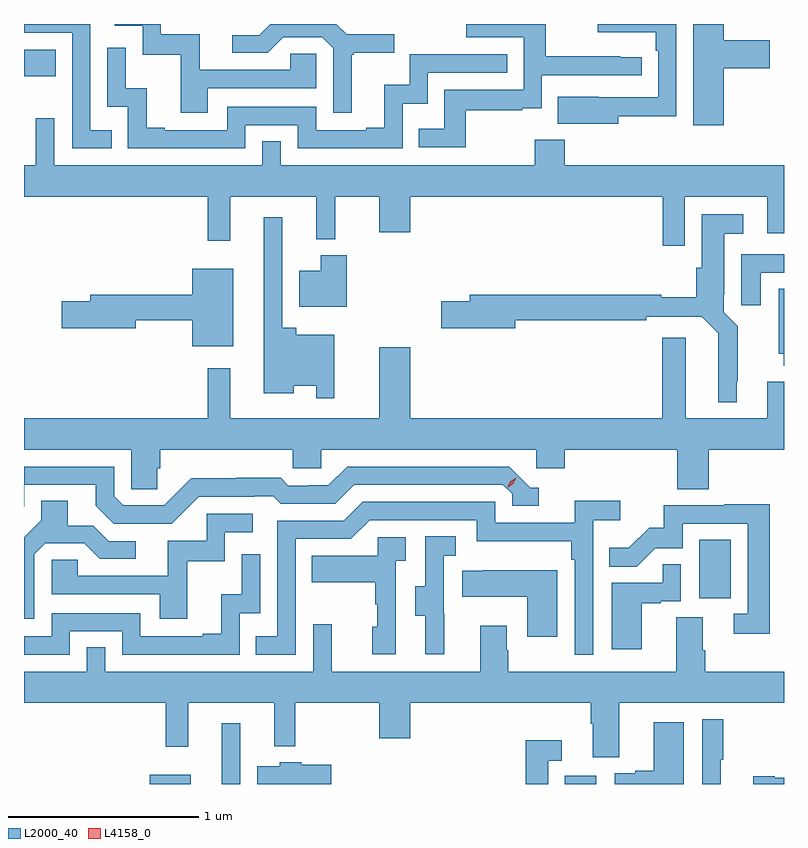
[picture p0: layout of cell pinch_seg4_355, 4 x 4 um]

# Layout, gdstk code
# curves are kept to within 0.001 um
import gdstk
lib = gdstk.Library(unit=1e-6, precision=1e-09)
def R(c, l, rs):  # rectangles x0, y0, x1, y1
    for r in rs: c.add(gdstk.rectangle(r[:2], r[2:], *l))
def P(c, l, *ps):  # polygons
    for p in ps: c.add(gdstk.Polygon(p, *l))
L2000_40 = (2000, 40)
L4158_0 = (4158, 0)

pinch_seg4_355 = lib.new_cell('pinch_seg4_355')
R(pinch_seg4_355, L2000_40, [(955.01,792.396,955.225,792.445), (955.388,792.396,955.485,792.715), (957.194,792.396,957.358,792.439), (957.902,793.374,958.066,793.681), (954.347,796.121,954.515,796.261)])
P(pinch_seg4_355, L2000_40, [(957.475,795.91),(957.78,795.91),(957.78,796.396),(957.366,796.396),(957.366,796.352),(957.671,796.352),(957.671,796.256),(957.684,796.256),(957.684,796.011),(957.371,796.011),(957.371,796.012),(957.157,796.012),(957.157,795.872),(957.475,795.872)],
  [(956.671,795.942),(956.969,795.942),(956.969,795.953),(957.072,795.953),(957.072,796.125),(957.598,796.125),(957.598,796.221),(957.485,796.221),(957.485,796.226),(957.092,796.226),(957.092,796.396),(956.675,796.396),(956.675,796.326),(956.976,796.326),(956.976,796.05),(956.56,796.05),(956.56,795.844),(956.425,795.844),(956.425,795.747),(956.671,795.747)],
  [(958.03,796.163),(958.273,796.163),(958.273,796.31),(958.03,796.31),(958.03,796.396),(957.869,796.396),(957.869,795.864),(958.03,795.864)],
  [(955.315,796.059),(955.884,796.059),(955.884,796.239),(955.747,796.239),(955.747,796.155),(955.273,796.155),(955.273,796.341),(955.068,796.341),(955.068,796.396),(954.825,796.396),(954.825,796.386),(954.972,796.386),(954.972,796.233),(955.171,796.233),(955.171,795.93),(955.315,795.93)],
  [(956.071,796.233),(956.083,796.233),(956.083,796.244),(956.296,796.244),(956.296,796.341),(956.046,796.341),(955.991,796.396),(955.642,796.396),(955.584,796.338),(955.443,796.338),(955.443,796.245),(955.63,796.245),(955.711,796.326),(955.917,796.326),(955.974,796.269),(955.974,795.93),(956.071,795.93)],
  [(954.809,795.837),(954.696,795.837),(954.696,796.396),(954.347,796.396),(954.347,796.35),(954.6,796.35),(954.6,795.741),(954.809,795.741)],
  [(955.512,795.864),(955.788,795.864),(955.788,795.741),(956.34,795.741),(956.34,795.977),(956.472,795.977),(956.472,796.14),(956.891,796.14),(956.891,796.236),(956.376,796.236),(956.376,796.075),(956.243,796.075),(956.243,795.85),(956.147,795.85),(956.147,795.837),(955.884,795.837),(955.884,795.96),(955.416,795.96),(955.416,795.837),(955.087,795.837),(955.087,795.85),(954.992,795.85),(954.992,796.058),(954.882,796.058),(954.882,796.27),(954.786,796.27),(954.786,795.96),(954.894,795.96),(954.894,795.741),(955.512,795.741)],
  [(957.825,795.488),(958.259,795.488),(958.259,795.294),(958.347,795.294),(958.347,795.652),(957.194,795.652),(957.194,795.787),(957.034,795.787),(957.034,795.652),(955.698,795.652),(955.698,795.779),(955.602,795.779),(955.602,795.652),(954.507,795.652),(954.507,795.901),(954.41,795.901),(954.41,795.652),(954.347,795.652),(954.347,795.488),(955.315,795.488),(955.315,795.255),(955.433,795.255),(955.433,795.488),(955.886,795.488),(955.886,795.263),(955.986,795.263),(955.986,795.488),(956.216,795.488),(956.216,795.3),(956.38,795.3),(956.38,795.488),(957.709,795.488),(957.709,795.228),(957.825,795.228)],
  [(958.099,794.515),(958.103,794.515),(958.103,794.806),(958.029,794.88),(958.029,794.974),(958.033,794.974),(958.033,795.293),(958.132,795.293),(958.132,795.394),(957.914,795.394),(957.914,795.114),(957.884,795.114),(957.884,794.957),(957.7,794.957),(957.7,794.972),(956.693,794.972),(956.693,794.936),(956.544,794.936),(956.544,794.794),(956.932,794.794),(956.932,794.836),(957.623,794.836),(957.623,794.856),(957.914,794.856),(958.002,794.768),(958.001,794.405),(958.099,794.405)],
  [(955.98,794.761),(955.781,794.761),(955.781,794.797),(955.707,794.797),(955.707,795.379),(955.61,795.379),(955.61,794.453),(955.768,794.453),(955.768,794.492),(955.884,794.492),(955.884,794.427),(955.98,794.427)],
  [(958.225,795.087),(958.347,795.087),(958.347,795.183),(958.121,795.183),(958.121,794.916),(958.225,794.916)],
  [(956.045,795.178),(955.91,795.178),(955.91,795.097),(955.796,795.097),(955.796,794.909),(956.045,794.909)],
  [(955.447,795.109),(955.232,795.109),(955.232,794.972),(954.695,794.972),(954.695,794.936),(954.546,794.936),(954.546,794.794),(954.934,794.794),(954.934,794.836),(955.232,794.836),(955.232,794.699),(955.447,794.699)],
  [(958.347,795.002),(958.319,795.002),(958.319,794.661),(958.346,794.661),(958.346,794.597),(958.347,794.597)],
  [(955.049,794.058),(955.064,794.058),(955.064,794.156),(955.761,794.156),(955.761,794.058),(955.911,794.058),(955.911,794.156),(957.042,794.156),(957.042,794.058),(957.194,794.058),(957.194,794.156),(957.785,794.156),(957.785,793.948),(957.95,793.948),(957.95,794.156),(958.347,794.156),(958.347,794.512),(958.259,794.512),(958.259,794.32),(957.829,794.32),(957.829,794.746),(957.707,794.746),(957.707,794.32),(956.38,794.32),(956.38,794.695),(956.216,794.695),(956.216,794.32),(955.432,794.32),(955.432,794.584),(955.315,794.584),(955.315,794.32),(954.347,794.32),(954.347,794.156),(954.912,794.156),(954.912,793.948),(955.049,793.948)],
  [(955.266,793.908),(955.559,793.908),(955.559,793.911),(955.658,793.911),(955.697,793.872),(955.986,793.872),(956.085,793.971),(956.868,793.971),(956.916,793.923),(956.916,793.86),(957.055,793.86),(957.055,793.956),(957.012,793.956),(956.901,794.067),(956.048,794.067),(955.949,793.968),(955.842,793.968),(955.842,793.965),(955.739,793.965),(955.697,794.008),(955.464,794.008),(955.464,794.005),(955.228,794.005),(955.086,793.863),(954.87,793.863),(954.822,793.911),(954.822,794.067),(954.347,794.067),(954.347,793.856),(954.348,793.971),(954.725,793.971),(954.725,793.861),(954.819,793.767),(955.125,793.767)],
  [(954.402,793.605),(954.459,793.662),(954.665,793.662),(954.746,793.581),(954.934,793.581),(954.934,793.674),(954.792,793.674),(954.712,793.754),(954.577,793.754),(954.577,793.886),(954.437,793.886),(954.437,793.784),(954.347,793.694),(954.347,793.266),(954.402,793.266)],
  [(955.776,793.686),(956.067,793.686),(956.166,793.785),(956.73,793.785),(956.73,793.673),(957.226,793.673),(957.226,793.577),(957.246,793.577),(957.246,793.077),(957.342,793.077),(957.342,793.784),(957.484,793.784),(957.484,793.886),(957.245,793.886),(957.245,793.77),(956.826,793.77),(956.826,793.881),(956.129,793.881),(956.03,793.782),(955.68,793.782),(955.68,793.173),(955.567,793.173),(955.567,793.077),(955.776,793.077)],
  [(958.271,793.868),(958.033,793.868),(958.033,793.863),(957.715,793.863),(957.715,793.746),(957.638,793.746),(957.531,793.639),(957.427,793.639),(957.427,793.54),(957.571,793.54),(957.669,793.638),(957.813,793.638),(957.813,793.767),(958.155,793.767),(958.155,793.293),(958.083,793.293),(958.083,793.188),(958.271,793.188)],
  [(955.205,793.569),(955.404,793.569),(955.404,793.722),(955.552,793.722),(955.552,793.818),(955.308,793.818),(955.308,793.677),(955.103,793.677),(955.103,793.491),(954.629,793.491),(954.629,793.575),(954.492,793.575),(954.492,793.395),(955.061,793.395),(955.061,793.266),(955.205,793.266)],
  [(956.558,793.293),(956.556,793.293),(956.556,793.597),(956.62,793.597),(956.62,793.7),(956.46,793.7),(956.46,793.437),(956.405,793.437),(956.405,793.282),(956.459,793.282),(956.459,793.08),(956.558,793.08)],
  [(956.304,793.571),(956.356,793.571),(956.356,793.695),(956.208,793.695),(956.208,793.597),(955.861,793.597),(955.861,793.457),(956.196,793.457),(956.196,793.343),(956.206,793.343),(956.206,793.224),(956.18,793.224),(956.18,793.08),(956.304,793.08)],
  [(954.588,793.2),(954.864,793.2),(954.864,793.077),(955.482,793.077),(955.482,793.296),(955.59,793.296),(955.59,793.606),(955.494,793.606),(955.494,793.394),(955.385,793.394),(955.385,793.186),(955.289,793.186),(955.289,793.173),(954.96,793.173),(954.96,793.296),(954.492,793.296),(954.492,793.173),(954.347,793.173),(954.347,793.077),(954.588,793.077)],
  [(957.598,793.347),(957.698,793.347),(957.698,793.359),(957.804,793.359),(957.804,793.553),(957.709,793.553),(957.709,793.455),(957.44,793.455),(957.44,793.104),(957.598,793.104)],
  [(957.154,793.522),(956.761,793.522),(956.761,793.519),(956.653,793.519),(956.653,793.382),(956.996,793.382),(956.996,793.17),(957.154,793.17)],
  [(957.481,792.824),(958.347,792.824),(958.347,792.988),(957.932,792.988),(957.932,793.1),(957.919,793.1),(957.919,793.274),(957.779,793.274),(957.779,792.988),(956.895,792.988),(956.895,793.1),(956.887,793.1),(956.887,793.228),(956.747,793.228),(956.747,792.988),(955.967,792.988),(955.967,793.237),(955.869,793.237),(955.869,792.988),(954.774,792.988),(954.774,793.115),(954.678,793.115),(954.678,792.988),(954.347,792.988),(954.347,792.824),(955.093,792.824),(955.093,792.591),(955.211,792.591),(955.211,792.824),(955.664,792.824),(955.664,792.596),(955.774,792.596),(955.774,792.824),(956.216,792.824),(956.216,792.636),(956.38,792.636),(956.38,792.824),(957.329,792.824),(957.329,792.712),(957.341,792.712),(957.341,792.538),(957.481,792.538)],
  [(958.015,792.523),(958.027,792.523),(958.027,792.736),(957.918,792.736),(957.918,792.396),(958.015,792.396)],
  [(957.82,792.721),(957.662,792.721),(957.662,792.466),(957.563,792.466),(957.563,792.453),(957.456,792.453),(957.456,792.396),(957.82,792.396)],
  [(957.105,792.519),(957.178,792.519),(957.178,792.625),(956.989,792.625),(956.989,792.396),(957.105,792.396)],
  [(955.963,792.498),(955.806,792.498),(955.806,792.511),(955.692,792.511),(955.692,792.49),(955.574,792.49),(955.574,792.396),(955.963,792.396)],
  [(958.347,792.43),(958.297,792.43),(958.297,792.438),(958.185,792.438),(958.185,792.396),(958.347,792.396)])
P(pinch_seg4_355, L4158_0, [(956.891,793.958),(956.891,793.958),(956.908,793.99),(956.938,794.009),(956.939,794.009),(956.939,794.009),(956.922,793.977),(956.892,793.958)])

lib.write_gds('pinch_seg4_355.gds')
